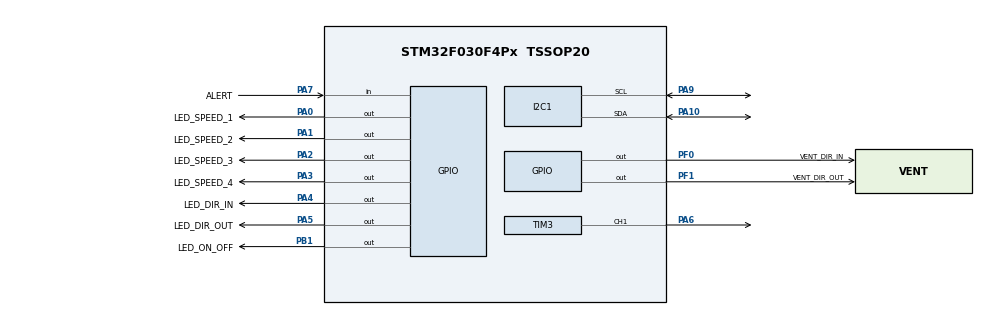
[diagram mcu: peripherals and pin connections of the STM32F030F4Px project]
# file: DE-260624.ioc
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Mcu.Family=STM32F0
Mcu.Name=STM32F030F4Px
Mcu.Package=TSSOP20
PA0.GPIO_Label=LED_SPEED_1
PA0.Signal=GPIO_Output
PA1.GPIO_Label=LED_SPEED_2
PA1.Signal=GPIO_Output
PA10.Mode=I2C
PA10.Signal=I2C1_SDA
PA13.Mode=Serial_Wire
PA13.Signal=SYS_SWDIO
PA14.Mode=Serial_Wire
PA14.Signal=SYS_SWCLK
PA2.GPIO_Label=LED_SPEED_3
PA2.Signal=GPIO_Output
PA3.GPIO_Label=LED_SPEED_4
PA3.Signal=GPIO_Output
PA4.GPIO_Label=LED_DIR_IN
PA4.Signal=GPIO_Output
PA5.GPIO_Label=LED_DIR_OUT
PA5.Signal=GPIO_Output
PA6.Signal=S_TIM3_CH1
PA7.GPIO_Label=ALERT
PA7.Signal=GPIO_Input
PA9.Mode=I2C
PA9.Signal=I2C1_SCL
PB1.GPIO_Label=LED_ON_OFF
PB1.Signal=GPIO_Output
PF0-OSC_IN.GPIO_Label=VENT_DIR_IN
PF0-OSC_IN.Signal=GPIO_Output
PF1-OSC_OUT.GPIO_Label=VENT_DIR_OUT
PF1-OSC_OUT.Signal=GPIO_Output
ProjectManager.HeapSize=0x200
ProjectManager.StackSize=0x400
ProjectManager.TargetToolchain=MDK-ARM V5.32
SH.S_TIM3_CH1.0=TIM3_CH1,PWM Generation1 CH1
TIM3.Channel-PWM\ Generation1\ CH1=TIM_CHANNEL_1
VP_IWDG_VS_IWDG.Mode=IWDG_Activate
VP_TIM3_VS_ClockSourceINT.Mode=Internal
board=custom

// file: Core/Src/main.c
/* USER CODE BEGIN Header */
/**
  ******************************************************************************
  * @file           : main.c
  * @brief          : Main program body
  ******************************************************************************
  * @attention
  *
  * Copyright (c) 2024 STMicroelectronics.
  * All rights reserved.
  *
  * This software is licensed under terms that can be found in the LICENSE file
  * in the root directory of this software component.
  * If no LICENSE file comes with this software, it is provided AS-IS.
  *
  ******************************************************************************
  */
/* USER CODE END Header */
#include "main.h"

/* USER CODE BEGIN Includes */
#include "CAP129n.h"
/* USER CODE END Includes */

/* USER CODE BEGIN PTD */
typedef enum{
    STATE_OFF = 0U,
    STATE_ON,
    STATE_PAUSE,
    STATE_BOOST
}state_t;

typedef enum{
    SPEED_OFF = 0U,
    SPEED_1,
    SPEED_2,
    SPEED_3,
    SPEED_4
}speed_t;

typedef enum{
    MODE_OFF = 0U,
    MODE_HR,
    MODE_VENT
}mode_t;

typedef enum{
    PAUSE_OFF = 0U,
    PAUSE_1H,
    PAUSE_2H,
    PAUSE_4H,
    PAUSE_8H
}pause_t;

typedef struct{
    state_t state;
    speed_t speed;
    speed_t old_speed;
    mode_t mode;
    pause_t pause;
    uint32_t timer;
    uint32_t timeout;
    uint32_t touch_tmr;
    uint32_t led_tmr;
    uint32_t pause_tmr;
    uint32_t pause_timeout;
    uint32_t pwm;
    uint8_t cap;
    uint8_t touch_enable;
    uint32_t filter_tmr;
    uint8_t filter;
}fan_t;
/* USER CODE END PTD */

/* USER CODE BEGIN PD */
#define PWM_SPEED_1 999
#define PWM_SPEED_2 666
#define PWM_SPEED_3 333
#define PWM_SPEED_4 0
#define PWM_RATE    20
#define LED_ON_TIME 20000
#define LED_BLINK_TIME 500
#define FANSTOP_TOUT1   3000
#define FANSTOP_TOUT2   6000
#define FANSTOP_TOUT3   9000
#define FANSTOP_TOUT4   12000
#define ON_OFF_BTN_TIME 2000
#define FAN_HR_DIR_TIME 70000
#define FILTER_CLEAN    4320 // 180 days x 24 hours filter cleaning warning
/* USER CODE END PD */

I2C_HandleTypeDef hi2c1;

IWDG_HandleTypeDef hiwdg;

TIM_HandleTypeDef htim3;

/* USER CODE BEGIN PV */
fan_t fan;
static uint32_t reload = 0, cal = 0, mon = 0;
static uint8_t ee_sta = 0, transition = 0, spch = 0;
/* USER CODE END PV */

void SystemClock_Config(void);
static void MX_GPIO_Init(void);
static void MX_I2C1_Init(void);
static void MX_IWDG_Init(void);
static void MX_TIM3_Init(void);
/* USER CODE BEGIN PFP */
static void CAP1293_Init(void);
static void SetLed(fan_t* fan);
static void SetSpeed(fan_t* fan);
static void SetMode(fan_t* fan);
static void SetPause(fan_t* fan);
static void GetTouch(fan_t* fan);
static void SetPwm(fan_t* fan);
static void SetOut(fan_t* fan);
static void CheckFilter(fan_t* fan);
static void CheckTimer(fan_t* fan);
static void CheckBoost(fan_t* fan);
static void Save(fan_t* fan);
static void Load(fan_t* fan);
static void LoadDefault(fan_t* fan);
/* USER CODE END PFP */

int main(void)
{

  /* MCU Configuration--------------------------------------------------------*/

  /* Reset of all peripherals, Initializes the Flash interface and the Systick. */
  HAL_Init();

  /* Configure the system clock */
  SystemClock_Config();

  /* Initialize all configured peripherals */
  MX_GPIO_Init();
  MX_I2C1_Init();
  MX_IWDG_Init();
  MX_TIM3_Init();
  /* USER CODE BEGIN 2 */
  HAL_Delay(100);
  CAP1293_Init();
  HAL_Delay(100);
  HAL_TIM_PWM_Start(&htim3, TIM_CHANNEL_1);

  /* USER CODE END 2 */

  /* Infinite loop */
  /* USER CODE BEGIN WHILE */
  Load(&fan); // try to load last state from eeprom
  /**
  *     in case of bad eeprom load default values
  *     and in case of new eeprom (all 0xff) init it with default
  */
  fan.led_tmr = HAL_GetTick(); // show led status

  if(ee_sta) LoadDefault(&fan);
  else if((fan.state>3)||(fan.speed>4)||(fan.mode>2)||(fan.pause>4)){
      LoadDefault(&fan);
      Save(&fan);
  }

  __HAL_TIM_SET_COMPARE(&htim3, TIM_CHANNEL_1, PWM_SPEED_1);
  cal = HAL_GetTick();

  while (1)
  {
      // ubrzat ako može reakciju na dodir
      // nevaljaju brzine poslije pauze
      // na 75% pumpa ventilatore ***
      // kad se pokrene boos resetovat timer za poslednji modu u eepromu ***
      // restrat ako je touch aktivan duže od 30 s ***
      // overshoot limiter
      // sa ven na hr pamti zadnje stanje vent pa prebacuje hr prvi puta ****

    /* USER CODE END WHILE */

    /* USER CODE BEGIN 3 */
    GetTouch(&fan);
    CheckBoost(&fan);  // place it before setspeed to remember old status
    SetSpeed(&fan);
    SetPause(&fan);
    SetMode(&fan);
    SetOut(&fan);
    SetPwm(&fan);
    SetLed(&fan);
    CheckTimer(&fan);
    CheckFilter(&fan);
    // kalibrisat samo kad je led iskljucen svako par minuta
    if ((fan.touch_enable != 0) && ((HAL_GetTick()-cal) >= 23456)){
        cal = HAL_GetTick();
        calibrateAll();
    }
    if (fan.cap && !mon){
        mon = HAL_GetTick();
    } else if (!fan.cap && mon) mon = 0;

    if(mon && (HAL_GetTick() - mon) >= 34567){
        mon = HAL_GetTick();
        calibrateAll();
    }
    HAL_Delay(10);
#ifdef USE_WATCHDOG
    HAL_IWDG_Refresh(&hiwdg);
#endif
  }
  /* USER CODE END 3 */
}

void SystemClock_Config(void)
{
  RCC_OscInitTypeDef RCC_OscInitStruct = {0};
  RCC_ClkInitTypeDef RCC_ClkInitStruct = {0};
  RCC_PeriphCLKInitTypeDef PeriphClkInit = {0};

  /** Initializes the RCC Oscillators according to the specified parameters
  * in the RCC_OscInitTypeDef structure.
  */
  RCC_OscInitStruct.OscillatorType = RCC_OSCILLATORTYPE_HSI|RCC_OSCILLATORTYPE_LSI;
  RCC_OscInitStruct.HSIState = RCC_HSI_ON;
  RCC_OscInitStruct.HSICalibrationValue = RCC_HSICALIBRATION_DEFAULT;
  RCC_OscInitStruct.LSIState = RCC_LSI_ON;
  RCC_OscInitStruct.PLL.PLLState = RCC_PLL_NONE;
  if (HAL_RCC_OscConfig(&RCC_OscInitStruct) != HAL_OK)
  {
    Error_Handler(1);
  }

  /** Initializes the CPU, AHB and APB buses clocks
  */
  RCC_ClkInitStruct.ClockType = RCC_CLOCKTYPE_HCLK|RCC_CLOCKTYPE_SYSCLK
                              |RCC_CLOCKTYPE_PCLK1;
  RCC_ClkInitStruct.SYSCLKSource = RCC_SYSCLKSOURCE_HSI;
  RCC_ClkInitStruct.AHBCLKDivider = RCC_SYSCLK_DIV1;
  RCC_ClkInitStruct.APB1CLKDivider = RCC_HCLK_DIV1;

  if (HAL_RCC_ClockConfig(&RCC_ClkInitStruct, FLASH_LATENCY_0) != HAL_OK)
  {
    Error_Handler(1);
  }
  PeriphClkInit.PeriphClockSelection = RCC_PERIPHCLK_I2C1;
  PeriphClkInit.I2c1ClockSelection = RCC_I2C1CLKSOURCE_HSI;
  if (HAL_RCCEx_PeriphCLKConfig(&PeriphClkInit) != HAL_OK)
  {
    Error_Handler(1);
  }
}

static void MX_I2C1_Init(void)
{

  hi2c1.Instance = I2C1;
  hi2c1.Init.Timing = 0x2000090E;
  hi2c1.Init.OwnAddress1 = 0;
  hi2c1.Init.AddressingMode = I2C_ADDRESSINGMODE_7BIT;
  hi2c1.Init.DualAddressMode = I2C_DUALADDRESS_DISABLE;
  hi2c1.Init.OwnAddress2 = 0;
  hi2c1.Init.OwnAddress2Masks = I2C_OA2_NOMASK;
  hi2c1.Init.GeneralCallMode = I2C_GENERALCALL_DISABLE;
  hi2c1.Init.NoStretchMode = I2C_NOSTRETCH_DISABLE;
  if (HAL_I2C_Init(&hi2c1) != HAL_OK)
  {
    Error_Handler(2);
  }

  /** Configure Analogue filter
  */
  if (HAL_I2CEx_ConfigAnalogFilter(&hi2c1, I2C_ANALOGFILTER_ENABLE) != HAL_OK)
  {
    Error_Handler(2);
  }

  /** Configure Digital filter
  */
  if (HAL_I2CEx_ConfigDigitalFilter(&hi2c1, 0) != HAL_OK)
  {
    Error_Handler(2);
  }

}

static void MX_IWDG_Init(void)
{

  /* USER CODE BEGIN IWDG_Init 0 */
#ifdef USE_WATCHDOG
  /* USER CODE END IWDG_Init 0 */

  hiwdg.Instance = IWDG;
  hiwdg.Init.Prescaler = IWDG_PRESCALER_128;
  hiwdg.Init.Window = 4095;
  hiwdg.Init.Reload = 4095;
  if (HAL_IWDG_Init(&hiwdg) != HAL_OK)
  {
    Error_Handler(3);
  }
  /* USER CODE BEGIN IWDG_Init 2 */
#endif
  /* USER CODE END IWDG_Init 2 */

}

static void MX_TIM3_Init(void)
{

  TIM_ClockConfigTypeDef sClockSourceConfig = {0};
  TIM_MasterConfigTypeDef sMasterConfig = {0};
  TIM_OC_InitTypeDef sConfigOC = {0};

  htim3.Instance = TIM3;
  htim3.Init.Prescaler = 8;
  htim3.Init.CounterMode = TIM_COUNTERMODE_UP;
  htim3.Init.Period = 1000;
  htim3.Init.ClockDivision = TIM_CLOCKDIVISION_DIV1;
  htim3.Init.AutoReloadPreload = TIM_AUTORELOAD_PRELOAD_DISABLE;
  if (HAL_TIM_Base_Init(&htim3) != HAL_OK)
  {
    Error_Handler(4);
  }
  sClockSourceConfig.ClockSource = TIM_CLOCKSOURCE_INTERNAL;
  if (HAL_TIM_ConfigClockSource(&htim3, &sClockSourceConfig) != HAL_OK)
  {
    Error_Handler(4);
  }
  if (HAL_TIM_PWM_Init(&htim3) != HAL_OK)
  {
    Error_Handler(4);
  }
  sMasterConfig.MasterOutputTrigger = TIM_TRGO_RESET;
  sMasterConfig.MasterSlaveMode = TIM_MASTERSLAVEMODE_DISABLE;
  if (HAL_TIMEx_MasterConfigSynchronization(&htim3, &sMasterConfig) != HAL_OK)
  {
    Error_Handler(4);
  }
  sConfigOC.OCMode = TIM_OCMODE_PWM1;
  sConfigOC.Pulse = 0;
  sConfigOC.OCPolarity = TIM_OCPOLARITY_HIGH;
  sConfigOC.OCFastMode = TIM_OCFAST_DISABLE;
  if (HAL_TIM_PWM_ConfigChannel(&htim3, &sConfigOC, TIM_CHANNEL_1) != HAL_OK)
  {
    Error_Handler(4);
  }
  HAL_TIM_MspPostInit(&htim3);

}

static void MX_GPIO_Init(void)
{
  GPIO_InitTypeDef GPIO_InitStruct = {0};

  /* GPIO Ports Clock Enable */
  __HAL_RCC_GPIOF_CLK_ENABLE();
  __HAL_RCC_GPIOA_CLK_ENABLE();
  __HAL_RCC_GPIOB_CLK_ENABLE();

  /*Configure GPIO pin Output Level */
  HAL_GPIO_WritePin(GPIOF, VENT_DIR_IN_Pin|VENT_DIR_OUT_Pin, GPIO_PIN_RESET);

  /*Configure GPIO pin Output Level */
  HAL_GPIO_WritePin(GPIOA, LED_SPEED_1_Pin|LED_SPEED_2_Pin|LED_SPEED_3_Pin|LED_SPEED_4_Pin
                          |LED_DIR_IN_Pin|LED_DIR_OUT_Pin, GPIO_PIN_RESET);

  /*Configure GPIO pin Output Level */
  HAL_GPIO_WritePin(LED_ON_OFF_GPIO_Port, LED_ON_OFF_Pin, GPIO_PIN_RESET);

  /*Configure GPIO pins : VENT_DIR_IN_Pin VENT_DIR_OUT_Pin */
  GPIO_InitStruct.Pin = VENT_DIR_IN_Pin|VENT_DIR_OUT_Pin;
  GPIO_InitStruct.Mode = GPIO_MODE_OUTPUT_PP;
  GPIO_InitStruct.Pull = GPIO_NOPULL;
  GPIO_InitStruct.Speed = GPIO_SPEED_FREQ_LOW;
  HAL_GPIO_Init(GPIOF, &GPIO_InitStruct);

  /*Configure GPIO pins : LED_SPEED_1_Pin LED_SPEED_2_Pin LED_SPEED_3_Pin LED_SPEED_4_Pin
                           LED_DIR_IN_Pin LED_DIR_OUT_Pin */
  GPIO_InitStruct.Pin = LED_SPEED_1_Pin|LED_SPEED_2_Pin|LED_SPEED_3_Pin|LED_SPEED_4_Pin
                          |LED_DIR_IN_Pin|LED_DIR_OUT_Pin;
  GPIO_InitStruct.Mode = GPIO_MODE_OUTPUT_PP;
  GPIO_InitStruct.Pull = GPIO_NOPULL;
  GPIO_InitStruct.Speed = GPIO_SPEED_FREQ_LOW;
  HAL_GPIO_Init(GPIOA, &GPIO_InitStruct);

  /*Configure GPIO pin : ALERT_Pin */
  GPIO_InitStruct.Pin = ALERT_Pin;
  GPIO_InitStruct.Mode = GPIO_MODE_INPUT;
  GPIO_InitStruct.Pull = GPIO_NOPULL;
  HAL_GPIO_Init(ALERT_GPIO_Port, &GPIO_InitStruct);

  /*Configure GPIO pin : LED_ON_OFF_Pin */
  GPIO_InitStruct.Pin = LED_ON_OFF_Pin;
  GPIO_InitStruct.Mode = GPIO_MODE_OUTPUT_PP;
  GPIO_InitStruct.Pull = GPIO_NOPULL;
  GPIO_InitStruct.Speed = GPIO_SPEED_FREQ_LOW;
  HAL_GPIO_Init(LED_ON_OFF_GPIO_Port, &GPIO_InitStruct);

}

/* USER CODE BEGIN 4 */
/**
  * @brief  if something wrong load default values and run
  * @param
  * @retval
  */
static void LoadDefault(fan_t* fan){
    fan->state = STATE_ON;
    fan->mode = MODE_VENT;
    fan->speed = SPEED_2;
    fan->old_speed = SPEED_OFF;
    fan->pause = PAUSE_OFF;
    fan->timeout = 0;
    fan->timer = 0;
    fan->touch_enable = 0;
    fan->touch_tmr = HAL_GetTick();
    fan->led_tmr = HAL_GetTick();
    fan->pwm = PWM_SPEED_1;
    fan->pause_tmr = 0;
    fan->cap = 0;
    fan->touch_enable = 0;
    fan->filter_tmr = 0;
    fan->filter = 0;
}
/**
  * @brief  handle LEDs according to system status
  * @param
  * @retval
  */
static void SetLed(fan_t* fan){
    static uint8_t cnt = 0, cnt1 = 0;
    static uint32_t tmr = 0, tmr1 = 0;

    if(fan->led_tmr && !fan->filter){
        switch(fan->state){
            case STATE_ON:
                switch(fan->speed){
                    case SPEED_1:
                        if(transition) break;
                        HAL_GPIO_WritePin(LED_ON_OFF_GPIO_Port, LED_ON_OFF_Pin, GPIO_PIN_RESET);
                        HAL_GPIO_WritePin(LED_SPEED_1_GPIO_Port, LED_SPEED_1_Pin, GPIO_PIN_SET);
                        HAL_GPIO_WritePin(LED_SPEED_2_GPIO_Port, LED_SPEED_2_Pin, GPIO_PIN_RESET);
                        HAL_GPIO_WritePin(LED_SPEED_3_GPIO_Port, LED_SPEED_3_Pin, GPIO_PIN_RESET);
                        HAL_GPIO_WritePin(LED_SPEED_4_GPIO_Port, LED_SPEED_4_Pin, GPIO_PIN_RESET);
                        break;
                    case SPEED_2:
                        if(transition) break;
                        HAL_GPIO_WritePin(LED_ON_OFF_GPIO_Port, LED_ON_OFF_Pin, GPIO_PIN_RESET);
                        HAL_GPIO_WritePin(LED_SPEED_1_GPIO_Port, LED_SPEED_1_Pin, GPIO_PIN_RESET);
                        HAL_GPIO_WritePin(LED_SPEED_2_GPIO_Port, LED_SPEED_2_Pin, GPIO_PIN_SET);
                        HAL_GPIO_WritePin(LED_SPEED_3_GPIO_Port, LED_SPEED_3_Pin, GPIO_PIN_RESET);
                        HAL_GPIO_WritePin(LED_SPEED_4_GPIO_Port, LED_SPEED_4_Pin, GPIO_PIN_RESET);
                        break;
                    case SPEED_3:
                        if(transition) break;
                        HAL_GPIO_WritePin(LED_ON_OFF_GPIO_Port, LED_ON_OFF_Pin, GPIO_PIN_RESET);
                        HAL_GPIO_WritePin(LED_SPEED_1_GPIO_Port, LED_SPEED_1_Pin, GPIO_PIN_RESET);
                        HAL_GPIO_WritePin(LED_SPEED_2_GPIO_Port, LED_SPEED_2_Pin, GPIO_PIN_RESET);
                        HAL_GPIO_WritePin(LED_SPEED_3_GPIO_Port, LED_SPEED_3_Pin, GPIO_PIN_SET);
                        HAL_GPIO_WritePin(LED_SPEED_4_GPIO_Port, LED_SPEED_4_Pin, GPIO_PIN_RESET);
                        break;
                    case SPEED_4:
                        if(transition) break;
                        HAL_GPIO_WritePin(LED_ON_OFF_GPIO_Port, LED_ON_OFF_Pin, GPIO_PIN_RESET);
                        HAL_GPIO_WritePin(LED_SPEED_1_GPIO_Port, LED_SPEED_1_Pin, GPIO_PIN_RESET);
                        HAL_GPIO_WritePin(LED_SPEED_2_GPIO_Port, LED_SPEED_2_Pin, GPIO_PIN_RESET);
                        HAL_GPIO_WritePin(LED_SPEED_3_GPIO_Port, LED_SPEED_3_Pin, GPIO_PIN_RESET);
                        HAL_GPIO_WritePin(LED_SPEED_4_GPIO_Port, LED_SPEED_4_Pin, GPIO_PIN_SET);
                        break;
                    case SPEED_OFF:
                    default:
                        HAL_GPIO_WritePin(LED_ON_OFF_GPIO_Port, LED_ON_OFF_Pin, GPIO_PIN_RESET);
                        HAL_GPIO_WritePin(LED_SPEED_1_GPIO_Port, LED_SPEED_1_Pin, GPIO_PIN_RESET);
                        HAL_GPIO_WritePin(LED_SPEED_2_GPIO_Port, LED_SPEED_2_Pin, GPIO_PIN_RESET);
                        HAL_GPIO_WritePin(LED_SPEED_3_GPIO_Port, LED_SPEED_3_Pin, GPIO_PIN_RESET);
                        HAL_GPIO_WritePin(LED_SPEED_4_GPIO_Port, LED_SPEED_4_Pin, GPIO_PIN_RESET);
                        break;
                }
                break;
            case STATE_PAUSE:
                if(cnt == 0){
                    switch(fan->pause){
                        case PAUSE_1H:
                            HAL_GPIO_WritePin(LED_ON_OFF_GPIO_Port, LED_ON_OFF_Pin, GPIO_PIN_RESET);
                            HAL_GPIO_WritePin(LED_SPEED_1_GPIO_Port, LED_SPEED_1_Pin, GPIO_PIN_SET);
                            HAL_GPIO_WritePin(LED_SPEED_2_GPIO_Port, LED_SPEED_2_Pin, GPIO_PIN_RESET);
                            HAL_GPIO_WritePin(LED_SPEED_3_GPIO_Port, LED_SPEED_3_Pin, GPIO_PIN_RESET);
                            HAL_GPIO_WritePin(LED_SPEED_4_GPIO_Port, LED_SPEED_4_Pin, GPIO_PIN_RESET);
                            break;
                        case PAUSE_2H:
                            HAL_GPIO_WritePin(LED_ON_OFF_GPIO_Port, LED_ON_OFF_Pin, GPIO_PIN_RESET);
                            HAL_GPIO_WritePin(LED_SPEED_1_GPIO_Port, LED_SPEED_1_Pin, GPIO_PIN_RESET);
                            HAL_GPIO_WritePin(LED_SPEED_2_GPIO_Port, LED_SPEED_2_Pin, GPIO_PIN_SET);
                            HAL_GPIO_WritePin(LED_SPEED_3_GPIO_Port, LED_SPEED_3_Pin, GPIO_PIN_RESET);
                            HAL_GPIO_WritePin(LED_SPEED_4_GPIO_Port, LED_SPEED_4_Pin, GPIO_PIN_RESET);
                            break;
                        case PAUSE_4H:
                            HAL_GPIO_WritePin(LED_ON_OFF_GPIO_Port, LED_ON_OFF_Pin, GPIO_PIN_RESET);
                            HAL_GPIO_WritePin(LED_SPEED_1_GPIO_Port, LED_SPEED_1_Pin, GPIO_PIN_RESET);
                            HAL_GPIO_WritePin(LED_SPEED_2_GPIO_Port, LED_SPEED_2_Pin, GPIO_PIN_RESET);
                            HAL_GPIO_WritePin(LED_SPEED_3_GPIO_Port, LED_SPEED_3_Pin, GPIO_PIN_SET);
                            HAL_GPIO_WritePin(LED_SPEED_4_GPIO_Port, LED_SPEED_4_Pin, GPIO_PIN_RESET);
                           break;
                        case PAUSE_8H:
                            HAL_GPIO_WritePin(LED_ON_OFF_GPIO_Port, LED_ON_OFF_Pin, GPIO_PIN_RESET);
                            HAL_GPIO_WritePin(LED_SPEED_1_GPIO_Port, LED_SPEED_1_Pin, GPIO_PIN_RESET);
                            HAL_GPIO_WritePin(LED_SPEED_2_GPIO_Port, LED_SPEED_2_Pin, GPIO_PIN_RESET);
                            HAL_GPIO_WritePin(LED_SPEED_3_GPIO_Port, LED_SPEED_3_Pin, GPIO_PIN_RESET);
                            HAL_GPIO_WritePin(LED_SPEED_4_GPIO_Port, LED_SPEED_4_Pin, GPIO_PIN_SET);
                            break;
                        case PAUSE_OFF:
                        default:
                            HAL_GPIO_WritePin(LED_ON_OFF_GPIO_Port, LED_ON_OFF_Pin, GPIO_PIN_RESET);
                            HAL_GPIO_WritePin(LED_SPEED_1_GPIO_Port, LED_SPEED_1_Pin, GPIO_PIN_RESET);
                            HAL_GPIO_WritePin(LED_SPEED_2_GPIO_Port, LED_SPEED_2_Pin, GPIO_PIN_RESET);
                            HAL_GPIO_WritePin(LED_SPEED_3_GPIO_Port, LED_SPEED_3_Pin, GPIO_PIN_RESET);
                            HAL_GPIO_WritePin(LED_SPEED_4_GPIO_Port, LED_SPEED_4_Pin, GPIO_PIN_RESET);
                            break;
                    }
                    ++cnt;
                    tmr = HAL_GetTick();
                }else if(cnt == 1){
                    if(!tmr){
                        HAL_GPIO_WritePin(LED_ON_OFF_GPIO_Port, LED_ON_OFF_Pin, GPIO_PIN_SET);
                        HAL_GPIO_WritePin(LED_SPEED_1_GPIO_Port, LED_SPEED_1_Pin, GPIO_PIN_RESET);
                        HAL_GPIO_WritePin(LED_SPEED_2_GPIO_Port, LED_SPEED_2_Pin, GPIO_PIN_RESET);
                        HAL_GPIO_WritePin(LED_SPEED_3_GPIO_Port, LED_SPEED_3_Pin, GPIO_PIN_RESET);
                        HAL_GPIO_WritePin(LED_SPEED_4_GPIO_Port, LED_SPEED_4_Pin, GPIO_PIN_RESET);
                        tmr = HAL_GetTick();
                        ++cnt;
                    }
                }else if(cnt > 1){
                    if(!tmr){
                        cnt = 0;
                    }
                }
                break;
            case STATE_BOOST:
                if(cnt == 0){
                    HAL_GPIO_WritePin(LED_ON_OFF_GPIO_Port, LED_ON_OFF_Pin, GPIO_PIN_RESET);
                    HAL_GPIO_WritePin(LED_SPEED_1_GPIO_Port, LED_SPEED_1_Pin, GPIO_PIN_RESET);
                    HAL_GPIO_WritePin(LED_SPEED_2_GPIO_Port, LED_SPEED_2_Pin, GPIO_PIN_RESET);
                    HAL_GPIO_WritePin(LED_SPEED_3_GPIO_Port, LED_SPEED_3_Pin, GPIO_PIN_RESET);
                    HAL_GPIO_WritePin(LED_SPEED_4_GPIO_Port, LED_SPEED_4_Pin, GPIO_PIN_SET);
                    ++cnt;
                    tmr = HAL_GetTick();
                }else if(cnt == 1){
                    if(!tmr){
                        HAL_GPIO_WritePin(LED_ON_OFF_GPIO_Port, LED_ON_OFF_Pin, GPIO_PIN_RESET);
                        HAL_GPIO_WritePin(LED_SPEED_1_GPIO_Port, LED_SPEED_1_Pin, GPIO_PIN_RESET);
                        HAL_GPIO_WritePin(LED_SPEED_2_GPIO_Port, LED_SPEED_2_Pin, GPIO_PIN_RESET);
                        HAL_GPIO_WritePin(LED_SPEED_3_GPIO_Port, LED_SPEED_3_Pin, GPIO_PIN_RESET);
                        HAL_GPIO_WritePin(LED_SPEED_4_GPIO_Port, LED_SPEED_4_Pin, GPIO_PIN_RESET);
                        tmr = HAL_GetTick();
                        ++cnt;
                    }
                }else if(cnt > 1){
                    if(!tmr){
                        cnt = 0;
                    }
                }
                break;
            case STATE_OFF:
            default:
                HAL_GPIO_WritePin(LED_ON_OFF_GPIO_Port, LED_ON_OFF_Pin, GPIO_PIN_SET);
                HAL_GPIO_WritePin(LED_SPEED_1_GPIO_Port, LED_SPEED_1_Pin, GPIO_PIN_RESET);
                HAL_GPIO_WritePin(LED_SPEED_2_GPIO_Port, LED_SPEED_2_Pin, GPIO_PIN_RESET);
                HAL_GPIO_WritePin(LED_SPEED_3_GPIO_Port, LED_SPEED_3_Pin, GPIO_PIN_RESET);
                HAL_GPIO_WritePin(LED_SPEED_4_GPIO_Port, LED_SPEED_4_Pin, GPIO_PIN_RESET);
                break;
        }

        switch(fan->mode){
            case MODE_HR:
                HAL_GPIO_WritePin(LED_DIR_IN_GPIO_Port, LED_DIR_IN_Pin, GPIO_PIN_SET);
                HAL_GPIO_WritePin(LED_DIR_OUT_GPIO_Port, LED_DIR_OUT_Pin, GPIO_PIN_RESET);
                break;
            case MODE_VENT:
                HAL_GPIO_WritePin(LED_DIR_OUT_GPIO_Port, LED_DIR_OUT_Pin, GPIO_PIN_SET);
                HAL_GPIO_WritePin(LED_DIR_IN_GPIO_Port, LED_DIR_IN_Pin, GPIO_PIN_RESET);
                break;
            case MODE_OFF:
            default:
                HAL_GPIO_WritePin(LED_DIR_IN_GPIO_Port, LED_DIR_IN_Pin, GPIO_PIN_RESET);
                HAL_GPIO_WritePin(LED_DIR_OUT_GPIO_Port, LED_DIR_OUT_Pin, GPIO_PIN_RESET);
                break;
        }

        if(fan->touch_enable == 1) fan->touch_enable = 2;
    }else{
        HAL_GPIO_WritePin(LED_SPEED_1_GPIO_Port, LED_SPEED_1_Pin, GPIO_PIN_RESET);
        HAL_GPIO_WritePin(LED_SPEED_2_GPIO_Port, LED_SPEED_2_Pin, GPIO_PIN_RESET);
        HAL_GPIO_WritePin(LED_SPEED_3_GPIO_Port, LED_SPEED_3_Pin, GPIO_PIN_RESET);
        HAL_GPIO_WritePin(LED_SPEED_4_GPIO_Port, LED_SPEED_4_Pin, GPIO_PIN_RESET);
        HAL_GPIO_WritePin(LED_ON_OFF_GPIO_Port, LED_ON_OFF_Pin, GPIO_PIN_RESET);
        if(!fan->filter){
            HAL_GPIO_WritePin(LED_DIR_IN_GPIO_Port, LED_DIR_IN_Pin, GPIO_PIN_RESET);
            HAL_GPIO_WritePin(LED_DIR_OUT_GPIO_Port, LED_DIR_OUT_Pin, GPIO_PIN_RESET);
        }
    }

    if(fan->filter){
        switch (cnt1){
            case 0:
                HAL_GPIO_WritePin(LED_DIR_IN_GPIO_Port, LED_DIR_IN_Pin, GPIO_PIN_SET);
                HAL_GPIO_WritePin(LED_DIR_OUT_GPIO_Port, LED_DIR_OUT_Pin, GPIO_PIN_SET);
                tmr1 = HAL_GetTick();
                ++cnt1;
                break;
            case 1:
                if((HAL_GetTick() - tmr1) >= LED_BLINK_TIME){
                    HAL_GPIO_WritePin(LED_DIR_IN_GPIO_Port, LED_DIR_IN_Pin, GPIO_PIN_RESET);
                    HAL_GPIO_WritePin(LED_DIR_OUT_GPIO_Port, LED_DIR_OUT_Pin, GPIO_PIN_RESET);
                    tmr1 = HAL_GetTick();
                    ++cnt1;
                }
                break;
            case 2:
            default:
                if((HAL_GetTick() - tmr1) >= LED_BLINK_TIME){
                    cnt1 = 0;
                }
                break;
        }
    }

    if((HAL_GetTick() - tmr) >= LED_BLINK_TIME) tmr = 0;
};
/**
  * @brief  speed selection
  * @param
  * @retval
  */
static void SetSpeed(fan_t* fan){
    static uint8_t tmp = 0;

    if(!fan->touch_enable && !fan->filter){
        if(!tmp && (fan->cap & 0x04U)){
            ++tmp;
            spch = 1;
            transition = 0;
            fan->speed = SPEED_1;
            fan->state = STATE_ON;
            fan->pause = PAUSE_OFF;
        }else if(!tmp && (fan->cap & 0x08U)){
            ++tmp;
            spch = 1;
            transition = 0;
            fan->speed = SPEED_2;
            fan->state = STATE_ON;
            fan->pause = PAUSE_OFF;
        }else if(!tmp && (fan->cap & 0x20U)){
            ++tmp;
            spch = 1;
            transition = 0;
            fan->speed = SPEED_3;
            fan->state = STATE_ON;
            fan->pause = PAUSE_OFF;
        }else if(!tmp && (fan->cap & 0x40U) && (fan->state != STATE_BOOST)){
            ++tmp;
            transition = 0;
            fan->speed = SPEED_4;
            fan->state = STATE_ON;
            fan->pause = PAUSE_OFF;
        } else tmp = 0;
    }
};
/**
  * @brief  mode selection
  * @param
  * @retval
  */
static void SetMode(fan_t* fan){
    static uint8_t tmp = 0;

    if(!fan->touch_enable && !fan->filter){
        if(fan->cap & 0x01U){
            if(!tmp && (fan->mode == MODE_HR)){
                ++tmp;
                fan->mode = MODE_VENT;
            } else if(!tmp && (fan->mode == MODE_VENT)){
                ++tmp;
                fan->mode = MODE_HR;
            }
        } else tmp = 0;
    }
};
/**
  * @brief  pause selection
  * @param
  * @retval
  */
static void SetPause(fan_t* fan){
    static uint8_t cnt = 0, en = 0;
    static uint32_t tmr = 0;

    if(!fan->touch_enable && !fan->filter){
        if(!cnt && (fan->cap & 0x02)){
            fan->state = STATE_PAUSE;
            if      (fan->pause == PAUSE_OFF) fan->pause = PAUSE_1H, fan->pause_timeout = 3600000U;
            else if (fan->pause == PAUSE_1H) fan->pause = PAUSE_2H, fan->pause_timeout = 7200000U;
            else if (fan->pause == PAUSE_2H) fan->pause = PAUSE_4H, fan->pause_timeout = 14400000U;
            else if (fan->pause == PAUSE_4H) fan->pause = PAUSE_8H, fan->pause_timeout = 28800000U;
            else if (fan->pause == PAUSE_8H) fan->pause = PAUSE_1H, fan->pause_timeout = 3600000U;
            fan->pause_tmr = HAL_GetTick();
            tmr = HAL_GetTick();
            ++cnt;
        }else if (cnt == 1){
            if (!(fan->cap & 0x02)){
                cnt = 0;
                tmr = 0;
            }else if((HAL_GetTick() - tmr) >= ON_OFF_BTN_TIME){
                fan->pause_tmr = 0;
                fan->pause_timeout = 0;
                fan->state = STATE_OFF;
                fan->pause = PAUSE_OFF;
                ++cnt;
            }
        }else if(cnt == 2){
            if (!(fan->cap & 0x02)){
                cnt = 0;
                tmr = 0;
            }
        }
    }

    if(fan->state == STATE_PAUSE){
        if(!fan->pause_tmr && !en){
            fan->state = STATE_ON;
            fan->pause = PAUSE_OFF;
            fan->led_tmr = HAL_GetTick();
            ++en;
        } else if (fan->pause_tmr && en){
            en = 0;
        }
    }
};
/**
  * @brief  check if boost function activated
  * @param
  * @retval
  */
static void CheckBoost(fan_t* fan){
    static uint8_t cnt = 0;
    static uint32_t tmr = 0;
    static fan_t old_fan;

    if(!fan->touch_enable && !fan->filter){
        if((cnt == 0) && (fan->cap & 0x40U)){
            ++cnt;
            old_fan = *fan;
            tmr = HAL_GetTick();
        }else if(cnt == 1){
            if (!(fan->cap & 0x40U)){
                cnt = 0;
                tmr = 0;
                spch = 1;
            }else if((HAL_GetTick() - tmr) >= ON_OFF_BTN_TIME){
                fan->state = STATE_BOOST;
                fan->speed = SPEED_4;
                fan->pause = PAUSE_OFF;
                fan->mode = MODE_VENT;
                reload = HAL_GetTick();
                ++cnt;
            }
        }else if(cnt == 2){
            if (!(fan->cap & 0x40U)){
                cnt = 0;
                tmr = HAL_GetTick();
            }
        }
    }

    if(fan->state == STATE_BOOST){
        if((HAL_GetTick() - tmr) >= 900000U){ // 15 min. boost function time
            fan->state = old_fan.state;
            fan->speed = old_fan.speed;
            fan->old_speed = old_fan.old_speed;
            fan->state = old_fan.state;
            fan->pause = old_fan.pause;
            fan->mode = old_fan.mode;
            reload = HAL_GetTick();
        }
    }
}
/**
  * @brief  load the state of the touch sensors and set some flags
  * @param
  * @retval
  */
static void GetTouch(fan_t* fan){
    uint8_t tmp;
    if(HAL_GPIO_ReadPin(ALERT_GPIO_Port, ALERT_Pin) == GPIO_PIN_RESET){
        fan->cap = CAP1293_ReadRegister(SENSOR_INPUT_STATUS);
        tmp = CAP1293_ReadRegister(MAIN_CONTROL);
        if(tmp & (1U<<0)) CAP1293_WriteRegister(MAIN_CONTROL, 0);
    }else if((fan->cap & 0x01) || (fan->cap & 0x02) || (fan->cap & 0x40U)){
        fan->cap = CAP1293_ReadRegister(SENSOR_INPUT_STATUS);
//        tmp = CAP1293_ReadRegister(MAIN_CONTROL);
//        if(tmp & (1U<<0)) CAP1293_WriteRegister(MAIN_CONTROL, 0);
//        HAL_Delay(50);
    }else fan->cap = 0;
    if(fan->cap) fan->touch_tmr = HAL_GetTick(),  fan->led_tmr = HAL_GetTick();
    if(!fan->cap && (fan->touch_enable == 2)) fan->touch_enable = 0;
};
/**
  * @brief  checking and confirming of filter cleaning
  * @param
  * @retval
  */
static void CheckFilter(fan_t* fan){
    static uint8_t cnt = 0;
    static uint32_t tmr = 0;

    if(fan->filter){
        if(!cnt && (fan->cap & 0x01)){
            tmr = HAL_GetTick();
            ++cnt;
        }else if (cnt == 1){
            if (!(fan->cap & 0x01)){
                cnt = 0;
                tmr = 0;
            }else if((HAL_GetTick() - tmr) >= ON_OFF_BTN_TIME){
                fan->filter_tmr = 0;
                fan->filter = 0;
                Save(fan);
                cnt = 0;
                tmr = 0;
            }
        }
    }
}
/**
  * @brief  pwm output adjustment and smooth speed transition
  * @param
  * @retval
  */
static void SetPwm(fan_t* fan){
    static uint32_t tmr = 0, cnt = 0, dir = 0;

    if(fan->old_speed != fan->speed){
        if(cnt == 0){
            if(fan->old_speed < fan->speed) dir = 2;
            else if(fan->old_speed > fan->speed) dir = 1;
            tmr = HAL_GetTick();
            ++cnt;
        }else if(cnt == 1){
            if((HAL_GetTick() - tmr) >= PWM_RATE){
                if((dir == 1) && (fan->pwm < PWM_SPEED_1)) ++fan->pwm;
                else if((dir == 2) && (fan->pwm)) --fan->pwm;
                else {
                    fan->old_speed = fan->speed;
                }
                __HAL_TIM_SET_COMPARE(&htim3, TIM_CHANNEL_1, fan->pwm);
            }
            if((fan->speed == SPEED_1) && (fan->pwm == PWM_SPEED_1)) fan->old_speed = fan->speed;
            if((fan->speed == SPEED_2) && (fan->pwm == PWM_SPEED_2)) fan->old_speed = fan->speed;
            if((fan->speed == SPEED_3) && (fan->pwm == PWM_SPEED_3)) fan->old_speed = fan->speed;
            if((fan->speed == SPEED_4) && (fan->pwm == PWM_SPEED_4)) fan->old_speed = fan->speed;
            if(fan->old_speed == fan->speed){
                cnt = 0;
                dir = 0;
                tmr = 0;
            }
        }
    }
    else if((fan->speed == SPEED_1) && (fan->pwm != PWM_SPEED_1)){
        if(fan->pwm < PWM_SPEED_1) fan->old_speed = SPEED_2;
        else fan->old_speed = SPEED_OFF;
    }
    else if((fan->speed == SPEED_2) && (fan->pwm != PWM_SPEED_2)){
        if(fan->pwm < PWM_SPEED_2) fan->old_speed = SPEED_3;
        else fan->old_speed = SPEED_1;
    }
    else if((fan->speed == SPEED_3) && (fan->pwm != PWM_SPEED_3)){
        if(fan->pwm < PWM_SPEED_3) fan->old_speed = SPEED_4;
        else fan->old_speed = SPEED_2;
    }
    else if((fan->speed == SPEED_4) && (fan->pwm != PWM_SPEED_4)){
        fan->old_speed = SPEED_3;
    }

};
/**
  * @brief  adjust direction of the fan according to selected mode
  * @param
  * @retval
  */
static void SetOut(fan_t* fan){
    static uint8_t cnt = 0, cnt1 = 0, cnt2 = 0;
    static uint32_t tmr = 0, timeout = 0;
    static speed_t _speed;

    if((fan->state != STATE_ON)&&(fan->state != STATE_BOOST)){
        cnt = 0;
        cnt1 = 0;
        cnt2 = 0;
        fan->timer = 0;
        fan->timeout = 0;
        fan->speed = SPEED_1;
        HAL_GPIO_WritePin(VENT_DIR_IN_GPIO_Port, VENT_DIR_IN_Pin, GPIO_PIN_RESET);
        HAL_GPIO_WritePin(VENT_DIR_OUT_GPIO_Port, VENT_DIR_OUT_Pin, GPIO_PIN_RESET);
    }else if(fan->mode == MODE_HR){
        if(cnt == 0){
            if((HAL_GetTick() - fan->timer) >= fan->timeout){
                if(cnt1 == 0){
                    _speed = fan->speed;
                    fan->speed = SPEED_1;
                    transition = 1;
                    HAL_GPIO_WritePin(VENT_DIR_IN_GPIO_Port, VENT_DIR_IN_Pin, GPIO_PIN_RESET);
                    tmr = HAL_GetTick();
                    if      (_speed == SPEED_1) timeout = FANSTOP_TOUT1;
                    else if (_speed == SPEED_2) timeout = FANSTOP_TOUT2;
                    else if (_speed == SPEED_3) timeout = FANSTOP_TOUT3;
                    else if (_speed == SPEED_4) timeout = FANSTOP_TOUT4;
                    ++cnt1;
                }else if(cnt1 == 1){
                    if((HAL_GetTick() - tmr) >= timeout){
                        fan->speed = _speed;
                        transition = 0;
                        HAL_GPIO_WritePin(VENT_DIR_OUT_GPIO_Port, VENT_DIR_OUT_Pin, GPIO_PIN_SET);
                        fan->timer = HAL_GetTick();
                        fan->timeout = FAN_HR_DIR_TIME;
                        cnt1 = 0;
                        ++cnt;
                    }
                }
            }
        }else if(cnt == 1){
             if((HAL_GetTick() - fan->timer) >= fan->timeout){
                if(cnt1 == 0){
                    _speed = fan->speed;
                    fan->speed = SPEED_1;
                    transition = 1;
                    HAL_GPIO_WritePin(VENT_DIR_OUT_GPIO_Port, VENT_DIR_OUT_Pin, GPIO_PIN_RESET);
                    tmr = HAL_GetTick();
                    if      (_speed == SPEED_1) timeout = FANSTOP_TOUT1;
                    else if (_speed == SPEED_2) timeout = FANSTOP_TOUT2;
                    else if (_speed == SPEED_3) timeout = FANSTOP_TOUT3;
                    else if (_speed == SPEED_4) timeout = FANSTOP_TOUT4;
                    ++cnt1;
                }else if(cnt1 == 1){
                    if((HAL_GetTick() - tmr) >= timeout){
                        fan->speed = _speed;
                        transition = 0;
                        HAL_GPIO_WritePin(VENT_DIR_IN_GPIO_Port, VENT_DIR_IN_Pin, GPIO_PIN_SET);
                        fan->timer = HAL_GetTick();
                        fan->timeout = FAN_HR_DIR_TIME;
                        cnt1 = 0;
                        ++cnt;
                    }
                }
            }
        }else{
            cnt1 = 0;
            cnt = 0;
        }
        cnt2 = 0;
    }else if(fan->mode == MODE_VENT){
        if(cnt2 == 0){
            HAL_GPIO_WritePin(VENT_DIR_IN_GPIO_Port, VENT_DIR_IN_Pin, GPIO_PIN_RESET);
            HAL_GPIO_WritePin(VENT_DIR_OUT_GPIO_Port, VENT_DIR_OUT_Pin, GPIO_PIN_RESET);
            tmr = HAL_GetTick();
            if      (fan->speed == SPEED_1) timeout = FANSTOP_TOUT1;
            else if (fan->speed == SPEED_2) timeout = FANSTOP_TOUT2;
            else if (fan->speed == SPEED_3) timeout = FANSTOP_TOUT3;
            else if (fan->speed == SPEED_4) timeout = FANSTOP_TOUT4;
            ++cnt2;
        }else if(cnt2 == 1){
            if((HAL_GetTick() - tmr) >= timeout){
                fan->pwm = PWM_SPEED_1;
                fan->old_speed = SPEED_OFF;
                HAL_GPIO_WritePin(VENT_DIR_OUT_GPIO_Port, VENT_DIR_OUT_Pin, GPIO_PIN_SET);
                ++cnt2;
            }
        }
        transition = 0;
        fan->timer = 0;
        fan->timeout = 0;
        cnt = 0;
        cnt1 = 0;
    }
    if(spch){
        spch = 0;
        _speed = fan->speed;
    }
};
/**
  * @brief  checking global timers and setting system flags
  * @param
  * @retval
  */
static void CheckTimer(fan_t* fan){
    if((HAL_GetTick() - fan->led_tmr) >= LED_ON_TIME) fan->led_tmr = 0;
    if((HAL_GetTick() - fan->touch_tmr) >= LED_ON_TIME) fan->touch_tmr = 0, fan->touch_enable = 1;
    if((HAL_GetTick() - fan->pause_tmr) >= fan->pause_timeout) fan->pause_tmr = 0;
    if((HAL_GetTick() - reload) >= 3600000U){
        reload = HAL_GetTick();
        ++fan->filter_tmr;
        Save(fan);
        if(fan->filter_tmr >= FILTER_CLEAN) {
            fan->filter = 1;
            fan->pause_tmr = 0;
            fan->pause_timeout = 0;
            fan->state = STATE_OFF;
            fan->pause = PAUSE_OFF;
        }
    }
}
/**
  * @brief  save state to eeprom
  * @param
  * @retval
  */
static void Save(fan_t* fan){
    uint8_t size = sizeof(fan_t);
    uint8_t data[sizeof(fan_t)], addr = 0;
    memcpy(data, fan, sizeof(data));
    while(size && !ee_sta){
        if (HAL_I2C_Mem_Write(&hi2c1, 0xA0, addr, I2C_MEMADD_SIZE_8BIT, &data[addr], 8, 1000) != HAL_OK) ++ee_sta;
        HAL_Delay(5);
        if(size >= 8) size -= 8, addr += 8;
        else size = 0;
    }
}
/**
  * @brief  load state from eeprom
  * @param
  * @retval
  */
static void Load(fan_t* fan){
    uint8_t data[sizeof(fan_t)];
    if (ee_sta) return;
    if (HAL_I2C_Mem_Read(&hi2c1, 0xA0, 0, I2C_MEMADD_SIZE_8BIT, data, sizeof(data), 1000) != HAL_OK) ++ee_sta;
    memcpy(fan, data, sizeof(data));
}

/**
  * @brief
  * @param
  * @retval
  */
static void CAP1293_Init(void)
{
	uint8_t vendor_id, product_id, reg_wr[2];

	vendor_id = 0U;
	product_id = 0U;

	reg_wr[0] = PROD_ID;
	if(HAL_I2C_Master_Transmit(&hi2c1, CAP1293_WRITE, reg_wr, 1U, DRV_TOUT) != HAL_OK)       Error_Handler(5);
	if(HAL_I2C_Master_Receive(&hi2c1, CAP1293_READ, &product_id, 1U, DRV_TOUT) != HAL_OK)    Error_Handler(5);
	reg_wr[0] = MANUFACTURE_ID;
	if(HAL_I2C_Master_Transmit(&hi2c1, CAP1293_WRITE, reg_wr, 1U, DRV_TOUT) != HAL_OK)       Error_Handler(5);
	if(HAL_I2C_Master_Receive(&hi2c1, CAP1293_READ, &vendor_id, 1U, DRV_TOUT) != HAL_OK)     Error_Handler(5);

	if((product_id == PROD_ID_VALUE_1298) && (vendor_id == CAP1293_VENDOR_ID))
	{

		CAP1293_WriteRegister(MULTIPLE_TOUCH_CONFIG, 0U);
		CAP1293_WriteRegister(SENSOR_INPUT_ENABLE, 0x7FU);
		CAP1293_WriteRegister(INTERRUPT_ENABLE, 0x7FU);
		CAP1293_WriteRegister(REPEAT_RATE_ENABLE, 0U);
		CAP1293_WriteRegister(SIGNAL_GUARD_ENABLE, 0xFFU);
		CAP1293_WriteRegister(SENSITIVITY_CONTROL, 0x2FU);
        calibrateAll();
	}
}
/**
  * @brief
  * @param
  * @retval
  */
uint8_t CAP1293_ReadRegister(uint8_t register_address)
{
	uint8_t ret_val;

	if(HAL_I2C_Master_Transmit(&hi2c1, CAP1293_WRITE, &register_address, 1U, DRV_TOUT) != HAL_OK)    Error_Handler(6);
	if(HAL_I2C_Master_Receive(&hi2c1, CAP1293_READ, &ret_val, 1U, DRV_TOUT) != HAL_OK)               Error_Handler(6);
	return(ret_val);
}
/**
  * @brief
  * @param
  * @retval
  */
void CAP1293_WriteRegister(uint8_t register_address, uint8_t register_data)
{
	uint8_t reg_val[2];

	reg_val[0] = register_address;
	reg_val[1] = register_data;
	if(HAL_I2C_Master_Transmit(&hi2c1, CAP1293_WRITE, reg_val, 2U, DRV_TOUT) != HAL_OK)              Error_Handler(7);
}
/* USER CODE END 4 */

void Error_Handler(uint8_t call)
{
  /* USER CODE BEGIN Error_Handler_Debug */
  /* User can add his own implementation to report the HAL error return state */
  __disable_irq();
  while (1)
  {
      HAL_NVIC_SystemReset();
  }
  /* USER CODE END Error_Handler_Debug */
}
